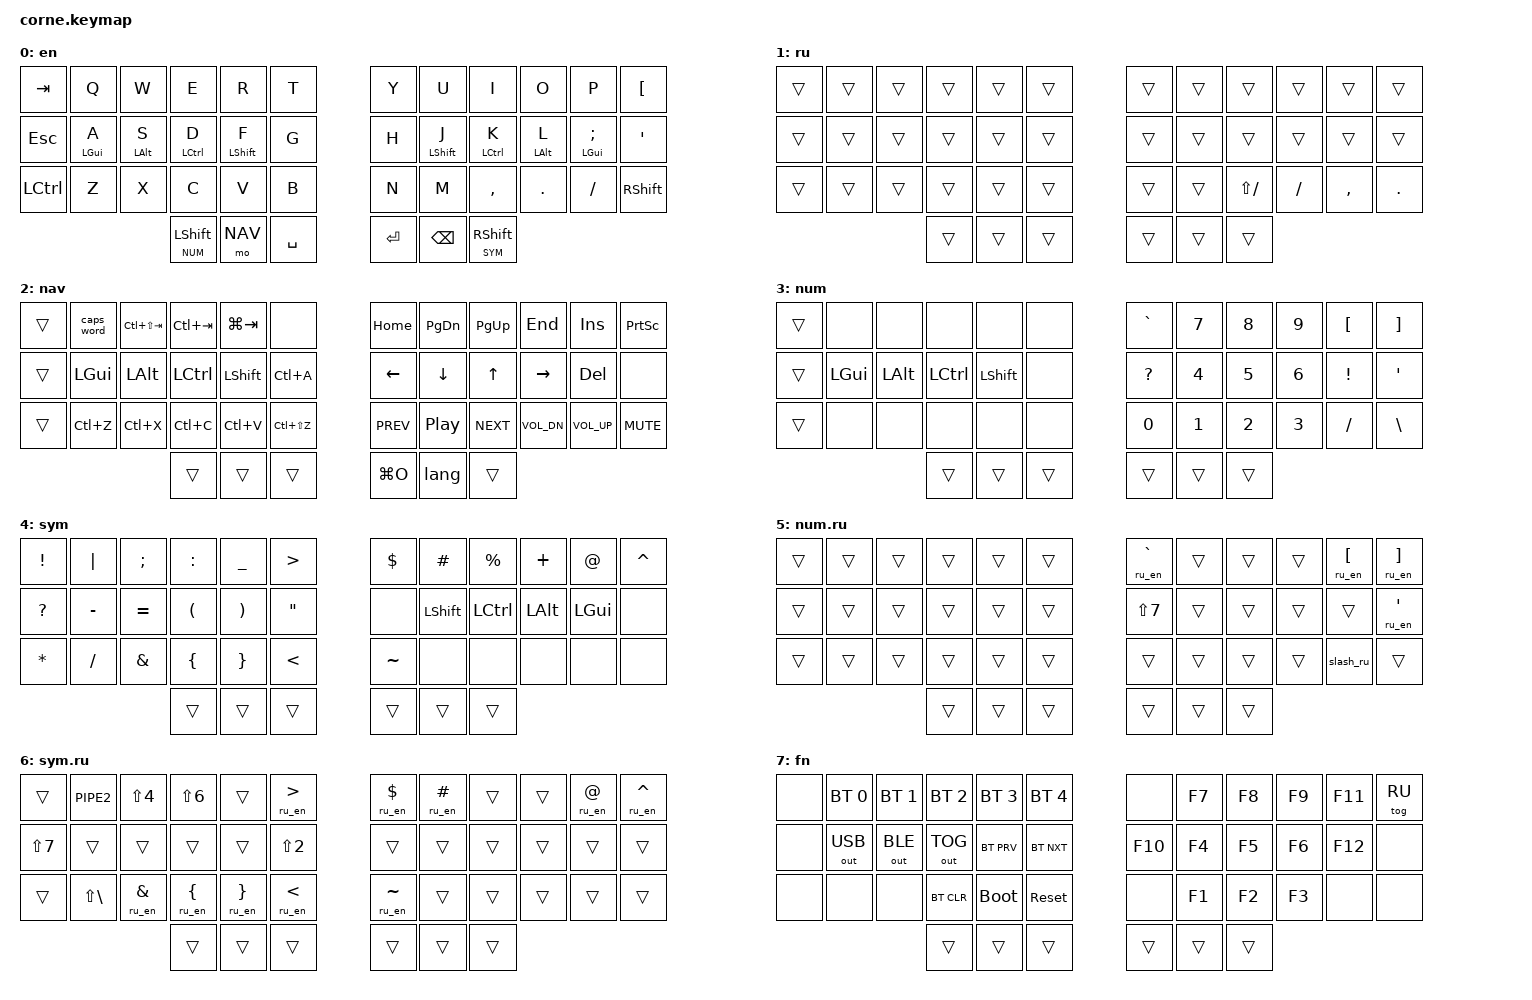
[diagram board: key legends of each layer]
#include <behaviors.dtsi>
#include <dt-bindings/zmk/keys.h>
#include <dt-bindings/zmk/bt.h>
#include <dt-bindings/zmk/outputs.h>
#include <dt-bindings/zmk/modifiers.h>

#define EN     0
#define RU     1
#define NAV    2
#define NUM    3
#define SYM    4
#define NUM_RU 5
#define SYM_RU 6
#define FN     7

/*
 *  0  1  2  3  4  5  |  6  7  8  9 10 11
 * 12 13 14 15 16 17  | 18 19 20 21 22 23
 * 24 25 26 27 28 29  | 30 31 32 33 34 35
 *          36 37 38  | 39 40 41
 */
#define KEYS_L  0  1  2  3  4  5 12 13 14 15 16 17 24 25 26 27 28 29
#define KEYS_R  6  7  8  9 10 11 18 19 20 21 22 23 30 31 32 33 34 35
#define THUMBS 36 37 38 39 40 41

#define SHIFT_MODS (MOD_LSFT|MOD_RSFT)


/ {
    behaviors {
        hml: home_row_mod_left {
            compatible = "zmk,behavior-hold-tap";
            #binding-cells = <2>;
            flavor = "balanced";
            tapping-term-ms = <280>;
            quick-tap-ms = <175>;
            require-prior-idle-ms = <150>;
            bindings = <&kp>, <&kp>;
            hold-trigger-key-positions = <KEYS_R THUMBS>;
            hold-trigger-on-release;
        };

        hmr: home_row_mod_right {
            compatible = "zmk,behavior-hold-tap";
            #binding-cells = <2>;
            flavor = "balanced";
            tapping-term-ms = <280>;
            quick-tap-ms = <175>;
            require-prior-idle-ms = <150>;
            bindings = <&kp>, <&kp>;
            hold-trigger-key-positions = <KEYS_L THUMBS>;
            hold-trigger-on-release;
        };

        skq: sticky_key_quick {
            compatible = "zmk,behavior-sticky-key";
            #binding-cells = <1>;
            bindings = <&kp>;
            release-after-ms = <1000>;
            quick-release;
            ignore-modifiers;
        };

        lts: layer_tap_sticky {
            compatible = "zmk,behavior-hold-tap";
            #binding-cells = <2>;
            flavor = "balanced";
            tapping-term-ms = <200>;
            bindings = <&mo>, <&skq>;
        };

        ru_en: symbol_via_english {
            compatible = "zmk,behavior-macro-one-param";
            #binding-cells = <1>;
            wait-ms = <30>;
            tap-ms = <10>;
            bindings
                = <&kp LG(SPACE)>
                , <&macro_param_1to1>, <&kp MACRO_PLACEHOLDER>
                , <&kp LG(SPACE)>;
        };

        lang: lang_switch {
            compatible = "zmk,behavior-macro";
            #binding-cells = <0>;
            wait-ms = <10>;
            tap-ms = <10>;
            bindings = <&kp LG(SPACE)>;
        };

        /* Единственный оставшийся mod-morph. Держит / и ? на позиции 34
         * слоя NUM: Shift там приходит из мышечной памяти обычной
         * клавиатуры. На слоях Shift для символов не используется вообще. */
        slash_ru: slash_ru {
            compatible = "zmk,behavior-mod-morph";
            #binding-cells = <0>;
            bindings = <&kp LS(BSLH)>, <&kp LS(N7)>;
            mods = <SHIFT_MODS>;
        };

    };

    conditional_layers {
        compatible = "zmk,conditional-layers";

        ru_num {
            if-layers = <RU NUM>;
            then-layer = <NUM_RU>;
        };

        ru_sym {
            if-layers = <RU SYM>;
            then-layer = <SYM_RU>;
        };

        tri_fn {
            if-layers = <NUM SYM>;
            then-layer = <FN>;
        };
    };

    combos {
        compatible = "zmk,combos";

        /* ъ: своей клавиши не осталось, 35 занята переехавшей ю. Пара 10+11
         * (з и х) — биграммы «зх» в русском нет. Только на RU: на базе
         * там P и [. */
        ru_hardsign {
            key-positions = <33 34>;
            bindings = <&kp RBKT>;
            layers = <RU>;
            timeout-ms = <50>;
        };
    };

    keymap {
        compatible = "zmk,keymap";

        default_layer {
            display-name = "en";
            bindings = <
    &kp TAB     &kp Q           &kp W           &kp E           &kp R           &kp T               &kp Y       &kp U           &kp I           &kp O           &kp P               &kp LBKT
    &kp ESC     &hml LGUI A     &hml LALT S     &hml LCTRL D    &hml LSHFT F    &kp G               &kp H       &hmr LSHFT J    &hmr LCTRL K    &hmr LALT L     &hmr LGUI SEMI      &kp SQT
    &kp LCTRL   &kp Z           &kp X           &kp C           &kp V           &kp B               &kp N       &kp M           &kp COMMA       &kp DOT         &kp FSLH            &kp RSHFT
                                                &lts NUM LSHFT  &mo NAV         &kp SPACE           &kp RET     &kp BSPC        &lts SYM RSHFT
            >;
        };

        ru_layer {
            display-name = "ru";
            bindings = <
    &trans       &trans       &trans       &trans       &trans       &trans               &trans       &trans       &trans       &trans       &trans       &trans
    &trans       &trans       &trans       &trans       &trans       &trans               &trans       &trans       &trans       &trans       &trans       &trans
    &trans       &trans       &trans       &trans       &trans       &trans               &trans       &trans       &kp LS(FSLH) &kp FSLH     &kp COMMA    &kp DOT
                                           &trans       &trans       &trans               &trans       &trans       &trans
            >;
        };

        nav_layer {
            display-name = "nav";
            bindings = <
    &trans      &caps_word      &kp LC(LS(TAB)) &kp LC(TAB)     &kp LG(TAB)     &none               &kp HOME        &kp PG_DN   &kp PG_UP   &kp END         &kp INS         &kp PSCRN
    &trans      &kp LGUI        &kp LALT        &kp LCTRL       &kp LSHFT       &kp LC(A)           &kp LEFT        &kp DOWN    &kp UP      &kp RIGHT       &kp DEL         &none
    &trans      &kp LC(Z)       &kp LC(X)       &kp LC(C)       &kp LC(V)       &kp LC(LS(Z))       &kp C_PREV      &kp C_PP    &kp C_NEXT  &kp C_VOL_DN    &kp C_VOL_UP    &kp C_MUTE
                                                &trans          &trans          &trans              &kp LG(O)       &lang       &trans
            >;
        };

        num_layer {
            display-name = "num";
            bindings = <
    &trans      &none       &none       &none       &none       &none               &kp GRAVE   &kp N7      &kp N8      &kp N9      &kp LBKT    &kp RBKT
    &trans      &kp LGUI    &kp LALT    &kp LCTRL   &kp LSHFT   &none               &kp QMARK   &kp N4      &kp N5      &kp N6      &kp EXCL    &kp SQT
    &trans      &none       &none       &none       &none       &none               &kp N0      &kp N1      &kp N2      &kp N3      &kp FSLH    &kp BSLH
                                        &trans      &trans      &trans              &trans      &trans      &trans
            >;
        };

        sym_layer {
            display-name = "sym";
            bindings = <
    &kp EXCL    &kp PIPE    &kp SEMI    &kp COLON   &kp UNDER   &kp GT              &kp DLLR    &kp HASH    &kp PRCNT   &kp PLUS    &kp AT      &kp CARET
    &kp QMARK   &kp MINUS   &kp EQUAL   &kp LPAR    &kp RPAR    &kp DQT             &none       &kp LSHFT   &kp LCTRL   &kp LALT    &kp LGUI    &none
    &kp ASTRK   &kp FSLH    &kp AMPS    &kp LBRC    &kp RBRC    &kp LT              &kp TILDE   &none       &none       &none       &none       &none
                                        &trans      &trans      &trans              &trans      &trans      &trans
            >;
        };

        num_ru_layer {
            display-name = "num.ru";
            bindings = <
    &trans       &trans       &trans       &trans       &trans       &trans               &ru_en GRAVE &trans       &trans       &trans       &ru_en LBKT  &ru_en RBKT
    &trans       &trans       &trans       &trans       &trans       &trans               &kp LS(N7)   &trans       &trans       &trans       &trans       &ru_en SQT
    &trans       &trans       &trans       &trans       &trans       &trans               &trans       &trans       &trans       &trans       &slash_ru    &trans
                                           &trans       &trans       &trans               &trans       &trans       &trans
            >;
        };

        sym_ru_layer {
            display-name = "sym.ru";
            bindings = <
    &trans       &kp PIPE2    &kp LS(N4)   &kp LS(N6)   &trans       &ru_en GT            &ru_en DLLR  &ru_en HASH  &trans       &trans       &ru_en AT    &ru_en CARET
    &kp LS(N7)   &trans       &trans       &trans       &trans       &kp LS(N2)           &trans       &trans       &trans       &trans       &trans       &trans
    &trans       &kp LS(BSLH) &ru_en AMPS  &ru_en LBRC  &ru_en RBRC  &ru_en LT            &ru_en TILDE &trans       &trans       &trans       &trans       &trans
                                           &trans       &trans       &trans               &trans       &trans       &trans
            >;
        };

        fn_layer {
            display-name = "fn";
            bindings = <
    &none       &bt BT_SEL 0    &bt BT_SEL 1    &bt BT_SEL 2    &bt BT_SEL 3    &bt BT_SEL 4        &none       &kp F7      &kp F8      &kp F9      &kp F11     &tog RU
    &none       &out OUT_USB    &out OUT_BLE    &out OUT_TOG    &bt BT_PRV      &bt BT_NXT          &kp F10     &kp F4      &kp F5      &kp F6      &kp F12     &none
    &none       &none           &none           &bt BT_CLR      &bootloader     &sys_reset          &none       &kp F1      &kp F2      &kp F3      &none       &none
                                                &trans          &trans          &trans              &trans      &trans      &trans
            >;
        };

    };

};
